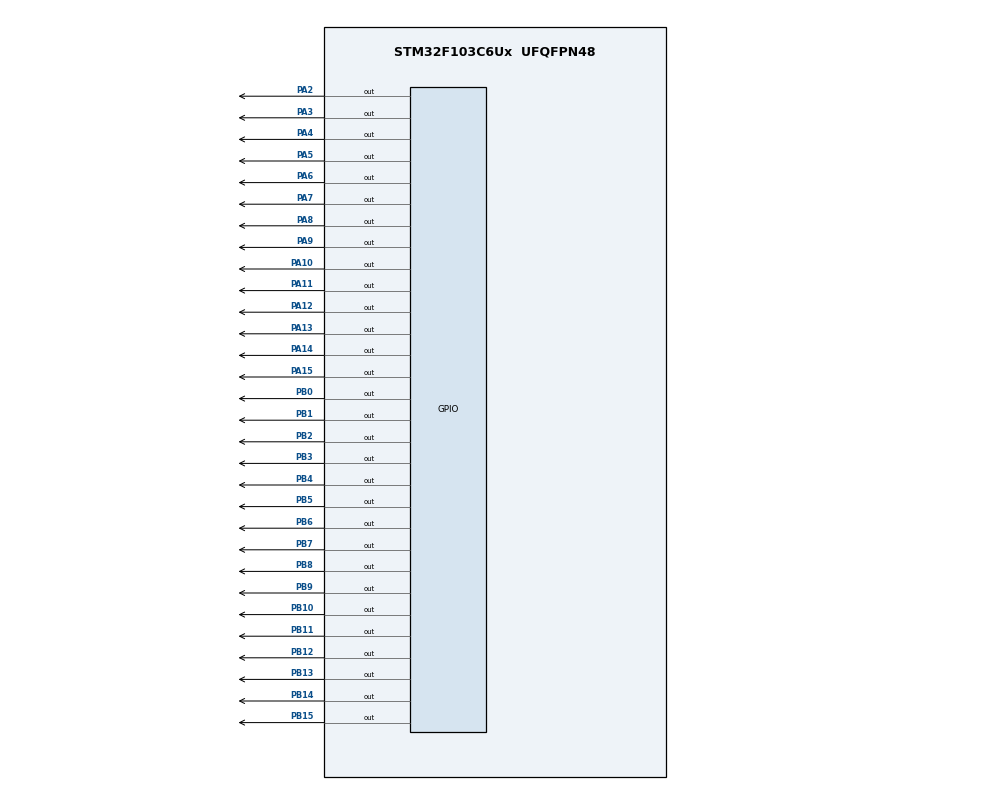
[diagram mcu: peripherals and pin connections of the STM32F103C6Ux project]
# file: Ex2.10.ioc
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Mcu.Family=STM32F1
Mcu.Name=STM32F103C6Ux
Mcu.Package=UFQFPN48
NVIC.PriorityGroup=NVIC_PRIORITYGROUP_4
NVIC.TIM2_IRQn=true\:0\:0\:false\:false\:true\:true\:true
PA10.Signal=GPIO_Output
PA11.Signal=GPIO_Output
PA12.Signal=GPIO_Output
PA13.Signal=GPIO_Output
PA14.Signal=GPIO_Output
PA15.Signal=GPIO_Output
PA2.Signal=GPIO_Output
PA3.Signal=GPIO_Output
PA4.Signal=GPIO_Output
PA5.Signal=GPIO_Output
PA6.Signal=GPIO_Output
PA7.Signal=GPIO_Output
PA8.Signal=GPIO_Output
PA9.Signal=GPIO_Output
PB0.Signal=GPIO_Output
PB1.Signal=GPIO_Output
PB10.Signal=GPIO_Output
PB11.Signal=GPIO_Output
PB12.Signal=GPIO_Output
PB13.Signal=GPIO_Output
PB14.Signal=GPIO_Output
PB15.Signal=GPIO_Output
PB2.Signal=GPIO_Output
PB3.Signal=GPIO_Output
PB4.Signal=GPIO_Output
PB5.Signal=GPIO_Output
PB6.Signal=GPIO_Output
PB7.Signal=GPIO_Output
PB8.Signal=GPIO_Output
PB9.Signal=GPIO_Output
ProjectManager.HeapSize=0x200
ProjectManager.StackSize=0x400
ProjectManager.TargetToolchain=STM32CubeIDE
RCC.APB1Freq_Value=8000000
RCC.APB2Freq_Value=8000000
TIM2.Period=9
TIM2.Prescaler=7999
VP_SYS_VS_ND.Mode=No_Debug
VP_TIM2_VS_ClockSourceINT.Mode=Internal
board=custom

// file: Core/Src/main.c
/* USER CODE BEGIN Header */
/**
 ******************************************************************************
 * @file           : main.c
 * @brief          : Main program body
 ******************************************************************************
 * @attention
 *
 * <h2><center>&copy; Copyright (c) 2022 STMicroelectronics.
 * All rights reserved.</center></h2>
 *
 * This software component is licensed by ST under BSD 3-Clause license,
 * the "License"; You may not use this file except in compliance with the
 * License. You may obtain a copy of the License at:
 *                        opensource.org/licenses/BSD-3-Clause
 *
 ******************************************************************************
 */
/* USER CODE END Header */
#include "main.h"

TIM_HandleTypeDef htim2;

void SystemClock_Config(void);
static void MX_GPIO_Init(void);
static void MX_TIM2_Init(void);

/* USER CODE BEGIN 0 */
int timer0_counter = 0;
int timer1_counter = 0;
int timer2_counter = 0;

int timer0_flag = 0;
int timer1_flag = 0;
int timer2_flag = 0;

int TIMER_CYCLE = 10;
void setTimer0(int duration) {
	timer0_counter = duration / TIMER_CYCLE;
	timer0_flag = 0;
}
void setTimer1(int duration) {
	timer1_counter = duration / TIMER_CYCLE;
	timer1_flag = 0;
}
void setTimer2(int duration) {
	timer2_counter = duration / TIMER_CYCLE;
	timer2_flag = 0;
}
void timer_run() {
	if (timer0_counter > 0) {
		timer0_counter--;
		if (timer0_counter <= 0)
			timer0_flag = 1;
	}
	if (timer1_counter > 0) {
		timer1_counter--;
		if (timer1_counter <= 0) {
			timer1_flag = 1;
		}
	}
	if (timer2_counter > 0) {
		timer2_counter--;
		if (timer2_counter <= 0) {
			timer2_flag = 1;
		}
	}
}

/* USER CODE END 0 */

int main(void) {

	/* MCU Configuration--------------------------------------------------------*/

	/* Reset of all peripherals, Initializes the Flash interface and the Systick. */
	HAL_Init();

	/* Configure the system clock */
	SystemClock_Config();

	/* Initialize all configured peripherals */
	MX_GPIO_Init();
	MX_TIM2_Init();
	/* USER CODE BEGIN 2 */
	HAL_TIM_Base_Start_IT(&htim2);

	/* USER CODE END 2 */

	/* Infinite loop */
	/* USER CODE BEGIN WHILE */
	int led_buffer[4] = { 1, 2, 3, 4 };
	int second = 0, minute = 0, hour = 0;
	int show7SEG = 0;
	//MATRIX
	const int MAX_LED_MATRIX = 8;
	const int MAX_MOVE = 8;
	int index_led_matrix = 0;
	int index_led_move = 0;
	int matrix_buffer[8] = { 0x38, 0x44, 0x44, 0x44, 0x7c, 0x44, 0x44, 0x44 };
	int row[8] = { 0x01, 0x02, 0x04, 0x08, 0x10, 0x20, 0x40, 0x80 };

	void clearLED_1() {
		HAL_GPIO_WritePin( GPIOA,
		GPIO_PIN_6 | GPIO_PIN_7 | GPIO_PIN_8 | GPIO_PIN_9, GPIO_PIN_SET);
		HAL_GPIO_WritePin( GPIOB, GPIO_PIN_0 | GPIO_PIN_1 | GPIO_PIN_2 |
		GPIO_PIN_3 | GPIO_PIN_4 | GPIO_PIN_5 |
		GPIO_PIN_6, GPIO_PIN_SET);
	}
	void writePin(int index) {
		HAL_GPIO_WritePin(GPIOA, GPIO_PIN_0 << index, RESET);
	}
	void display7SEG(int num) {
		char led7seg[10] = { 0x40, 0x79, 0x24, 0x30, 0x19, 0x92, 0x12, 0x78,
				0x0, 0x10 };
		for (int i = 0; i < 7; i++) {
			HAL_GPIO_WritePin(GPIOB, GPIO_PIN_0 << i, (led7seg[num] >> i) & 1);
		}
	}
	void update7SEG(int index) {
		int write = index + 6;
		writePin(write);
		display7SEG(led_buffer[index]);
	}

	void updateClockBuffer() {
		led_buffer[0] = hour / 10;
		led_buffer[1] = hour % 10;
		led_buffer[2] = minute / 10;
		led_buffer[3] = minute % 10;

	}

	void clearLED_2() {
		for (int i = 10; i < 15; i++) {
			HAL_GPIO_WritePin(GPIOA, GPIO_PIN_0 << i, RESET);
		}
		for (int i = 8; i < 15; i++) {
			HAL_GPIO_WritePin(GPIOB, GPIO_PIN_8 << i, RESET);
		}
	}
	void updateMatrix(int num) {
		for (int i = 0; i <= 7; i++) {
			if (i == 0 || i == 1) {
				HAL_GPIO_WritePin(GPIOA, GPIO_PIN_2 << i, (row[num] >> i) & 1);
			}
			if (i >= 2) {
				HAL_GPIO_WritePin(GPIOA, GPIO_PIN_8 << i, (row[num] >> i) & 1);
			}
		}
	}

	void updateRow(int num) {
		for (int i = 0; i <= 7; i++) {
			HAL_GPIO_WritePin(GPIOB, GPIO_PIN_8 << i,
					(matrix_buffer[num] >> i) & 1);
		}
	}
	void updateLEDMatrix(int index) {
		clearLED_2();
		updateMatrix(index);
		updateRow(index);
	}
	void updateLeftBuffer() {
		for (int i = 0; i <= 7; i++) {
			int x = matrix_buffer[i] & 1;
			if (x == 0x01)
				matrix_buffer[i] = ((matrix_buffer[i]) >> 1) | 0x80;
			else if (x == 0x00)
				matrix_buffer[i] = (matrix_buffer[i]) >> 1;
		}
	}
	setTimer0(11);
	setTimer1(12);
	setTimer2(13);
	while (1) {
		//LED-DOT
		if (timer0_flag == 1) {
			HAL_GPIO_TogglePin( GPIOA, GPIO_PIN_4);
			HAL_GPIO_TogglePin( GPIOA, GPIO_PIN_5);
			setTimer0(1000);
		}
		//TIME
		if (timer1_flag == 1) {
			second++;
			if (second >= 60) {
				second = 0;
				minute++;

			}
			if (minute >= 60) {
				minute = 0;
				hour++;

			}
			if (hour >= 24) {
				hour = 0;
			}
			updateClockBuffer();
			//update led
			clearLED_1();
			update7SEG(show7SEG);
			show7SEG++;
			if (show7SEG >= 4)
				show7SEG = 0;
			setTimer1(1000);
		}
		//MATRIX LED
		if (timer2_flag == 1) {

			updateLEDMatrix(index_led_matrix);
			index_led_matrix++;
			if (index_led_matrix >= MAX_LED_MATRIX) {
				index_led_matrix = 0;
				index_led_move++;
				updateLeftBuffer();
			}
			if (index_led_move >= MAX_MOVE) {
				index_led_move = 0;
			}
			setTimer2(100);
		}
	}

}

void SystemClock_Config(void) {
	RCC_OscInitTypeDef RCC_OscInitStruct = { 0 };
	RCC_ClkInitTypeDef RCC_ClkInitStruct = { 0 };

	/** Initializes the RCC Oscillators according to the specified parameters
	 * in the RCC_OscInitTypeDef structure.
	 */
	RCC_OscInitStruct.OscillatorType = RCC_OSCILLATORTYPE_HSI;
	RCC_OscInitStruct.HSIState = RCC_HSI_ON;
	RCC_OscInitStruct.HSICalibrationValue = RCC_HSICALIBRATION_DEFAULT;
	RCC_OscInitStruct.PLL.PLLState = RCC_PLL_NONE;
	if (HAL_RCC_OscConfig(&RCC_OscInitStruct) != HAL_OK) {
		Error_Handler();
	}
	/** Initializes the CPU, AHB and APB buses clocks
	 */
	RCC_ClkInitStruct.ClockType = RCC_CLOCKTYPE_HCLK | RCC_CLOCKTYPE_SYSCLK
			| RCC_CLOCKTYPE_PCLK1 | RCC_CLOCKTYPE_PCLK2;
	RCC_ClkInitStruct.SYSCLKSource = RCC_SYSCLKSOURCE_HSI;
	RCC_ClkInitStruct.AHBCLKDivider = RCC_SYSCLK_DIV1;
	RCC_ClkInitStruct.APB1CLKDivider = RCC_HCLK_DIV1;
	RCC_ClkInitStruct.APB2CLKDivider = RCC_HCLK_DIV1;

	if (HAL_RCC_ClockConfig(&RCC_ClkInitStruct, FLASH_LATENCY_0) != HAL_OK) {
		Error_Handler();
	}
}

static void MX_TIM2_Init(void) {

	TIM_ClockConfigTypeDef sClockSourceConfig = { 0 };
	TIM_MasterConfigTypeDef sMasterConfig = { 0 };

	htim2.Instance = TIM2;
	htim2.Init.Prescaler = 7999;
	htim2.Init.CounterMode = TIM_COUNTERMODE_UP;
	htim2.Init.Period = 9;
	htim2.Init.ClockDivision = TIM_CLOCKDIVISION_DIV1;
	htim2.Init.AutoReloadPreload = TIM_AUTORELOAD_PRELOAD_DISABLE;
	if (HAL_TIM_Base_Init(&htim2) != HAL_OK) {
		Error_Handler();
	}
	sClockSourceConfig.ClockSource = TIM_CLOCKSOURCE_INTERNAL;
	if (HAL_TIM_ConfigClockSource(&htim2, &sClockSourceConfig) != HAL_OK) {
		Error_Handler();
	}
	sMasterConfig.MasterOutputTrigger = TIM_TRGO_RESET;
	sMasterConfig.MasterSlaveMode = TIM_MASTERSLAVEMODE_DISABLE;
	if (HAL_TIMEx_MasterConfigSynchronization(&htim2, &sMasterConfig)
			!= HAL_OK) {
		Error_Handler();
	}

}

static void MX_GPIO_Init(void) {
	GPIO_InitTypeDef GPIO_InitStruct = { 0 };

	/* GPIO Ports Clock Enable */
	__HAL_RCC_GPIOA_CLK_ENABLE();
	__HAL_RCC_GPIOB_CLK_ENABLE();

	/*Configure GPIO pin Output Level */
	HAL_GPIO_WritePin(GPIOA,
			GPIO_PIN_2 | GPIO_PIN_3 | GPIO_PIN_4 | GPIO_PIN_5 | GPIO_PIN_6
					| GPIO_PIN_7 | GPIO_PIN_8 | GPIO_PIN_9 | GPIO_PIN_10
					| GPIO_PIN_11 | GPIO_PIN_12 | GPIO_PIN_13 | GPIO_PIN_14
					| GPIO_PIN_15, GPIO_PIN_RESET);

	/*Configure GPIO pin Output Level */
	HAL_GPIO_WritePin(GPIOB,
			GPIO_PIN_0 | GPIO_PIN_1 | GPIO_PIN_2 | GPIO_PIN_10 | GPIO_PIN_11
					| GPIO_PIN_12 | GPIO_PIN_13 | GPIO_PIN_14 | GPIO_PIN_15
					| GPIO_PIN_3 | GPIO_PIN_4 | GPIO_PIN_5 | GPIO_PIN_6
					| GPIO_PIN_7 | GPIO_PIN_8 | GPIO_PIN_9, GPIO_PIN_RESET);

	/*Configure GPIO pins : PA2 PA3 PA4 PA5
	 PA6 PA7 PA8 PA9
	 PA10 PA11 PA12 PA13
	 PA14 PA15 */
	GPIO_InitStruct.Pin = GPIO_PIN_2 | GPIO_PIN_3 | GPIO_PIN_4 | GPIO_PIN_5
			| GPIO_PIN_6 | GPIO_PIN_7 | GPIO_PIN_8 | GPIO_PIN_9 | GPIO_PIN_10
			| GPIO_PIN_11 | GPIO_PIN_12 | GPIO_PIN_13 | GPIO_PIN_14
			| GPIO_PIN_15;
	GPIO_InitStruct.Mode = GPIO_MODE_OUTPUT_PP;
	GPIO_InitStruct.Pull = GPIO_NOPULL;
	GPIO_InitStruct.Speed = GPIO_SPEED_FREQ_LOW;
	HAL_GPIO_Init(GPIOA, &GPIO_InitStruct);

	/*Configure GPIO pins : PB0 PB1 PB2 PB10
	 PB11 PB12 PB13 PB14
	 PB15 PB3 PB4 PB5
	 PB6 PB7 PB8 PB9 */
	GPIO_InitStruct.Pin = GPIO_PIN_0 | GPIO_PIN_1 | GPIO_PIN_2 | GPIO_PIN_10
			| GPIO_PIN_11 | GPIO_PIN_12 | GPIO_PIN_13 | GPIO_PIN_14
			| GPIO_PIN_15 | GPIO_PIN_3 | GPIO_PIN_4 | GPIO_PIN_5 | GPIO_PIN_6
			| GPIO_PIN_7 | GPIO_PIN_8 | GPIO_PIN_9;
	GPIO_InitStruct.Mode = GPIO_MODE_OUTPUT_PP;
	GPIO_InitStruct.Pull = GPIO_NOPULL;
	GPIO_InitStruct.Speed = GPIO_SPEED_FREQ_LOW;
	HAL_GPIO_Init(GPIOB, &GPIO_InitStruct);

}

/* USER CODE BEGIN 4 */
void HAL_TIM_PeriodElapsedCallback(TIM_HandleTypeDef *htim) {

	timer_run();
}
/* USER CODE END 4 */

void Error_Handler(void) {
	__disable_irq();
	while (1) {
	}
}

/************************ (C) COPYRIGHT STMicroelectronics *****END OF FILE****/
